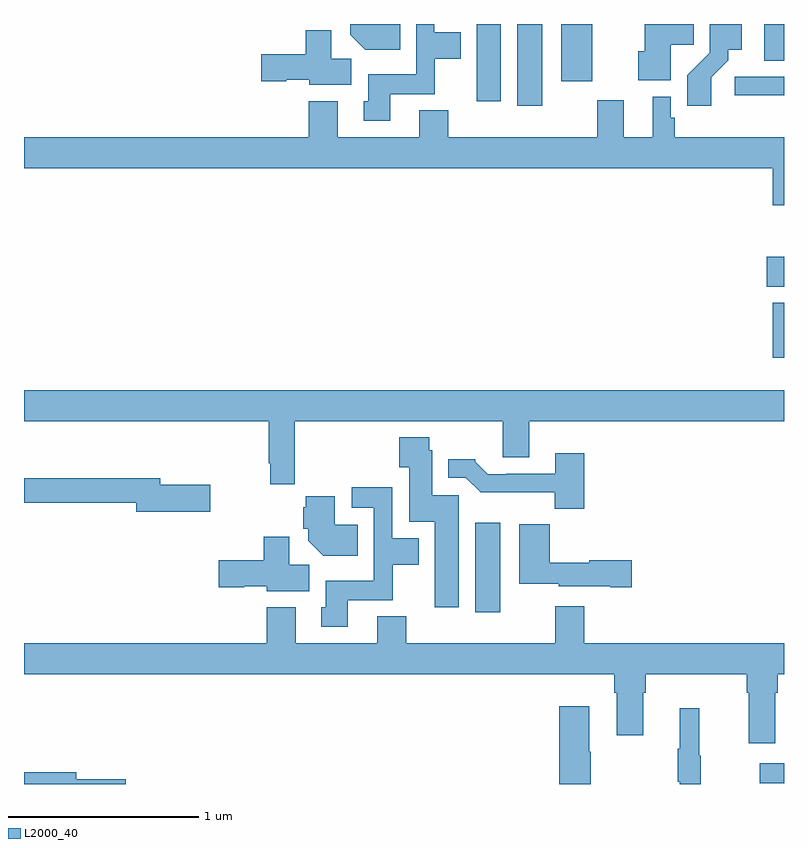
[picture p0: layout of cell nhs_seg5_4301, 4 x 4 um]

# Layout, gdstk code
import gdstk
lib = gdstk.Library(unit=1e-6, precision=1e-09)
def R(c, l, rs):  # rectangles x0, y0, x1, y1
    for r in rs: c.add(gdstk.rectangle(r[:2], r[2:], *l))
def P(c, l, *ps):  # polygons
    for p in ps: c.add(gdstk.Polygon(p, *l))
L2000_40 = (2000, 40)

nhs_seg5_4301 = lib.new_cell('nhs_seg5_4301')
R(nhs_seg5_4301, L2000_40, [(366.873,906.803,367,906.907), (365.375,907.704,365.506,908.173), (366.941,909.042,367,909.331), (366.909,909.416,367,909.574), (365.597,910.368,365.728,910.799), (365.384,910.392,365.509,910.799), (366.896,910.606,367,910.799)])
P(nhs_seg5_4301, L2000_40, [(366.616,910.519),(366.706,910.609),(366.706,910.664),(366.778,910.664),(366.778,910.799),(366.609,910.799),(366.609,910.649),(366.49,910.53),(366.49,910.368),(366.616,910.368)],
  [(366.403,910.69),(366.524,910.69),(366.524,910.799),(366.266,910.799),(366.266,910.655),(366.233,910.655),(366.233,910.502),(366.403,910.502)],
  [(365.992,910.724),(365.99,910.724),(365.99,910.799),(365.828,910.799),(365.828,910.497),(365.992,910.497)],
  [(364.979,910.799),(364.718,910.799),(364.718,910.742),(364.796,910.664),(364.979,910.664)],
  [(364.927,910.43),(365.163,910.43),(365.163,910.616),(365.299,910.616),(365.299,910.756),(365.16,910.756),(365.16,910.799),(365.064,910.799),(365.064,910.534),(364.811,910.534),(364.811,910.392),(364.787,910.392),(364.787,910.29),(364.927,910.29)],
  [(364.723,910.616),(364.618,910.616),(364.618,910.765),(364.484,910.765),(364.484,910.64),(364.248,910.64),(364.248,910.498),(364.38,910.498),(364.38,910.505),(364.5,910.505),(364.5,910.478),(364.723,910.478)],
  [(366.965,910.425),(367,910.425),(367,910.521),(366.741,910.521),(366.741,910.423),(366.965,910.423)],
  [(366.941,909.846),(367,909.846),(367,910.204),(366.425,910.204),(366.425,910.305),(366.405,910.305),(366.405,910.417),(366.308,910.417),(366.308,910.204),(366.157,910.204),(366.157,910.399),(366.017,910.399),(366.017,910.204),(365.234,910.204),(365.234,910.345),(365.081,910.345),(365.081,910.204),(364.651,910.204),(364.651,910.393),(364.499,910.393),(364.499,910.204),(363,910.204),(363,910.04),(366.941,910.04)],
  [(363,908.708),(364.288,908.708),(364.288,908.488),(364.296,908.488),(364.296,908.376),(364.424,908.376),(364.424,908.708),(365.519,908.708),(365.519,908.518),(365.659,908.518),(365.659,908.708),(367,908.708),(367,908.872),(363,908.872)],
  [(365.287,908.319),(365.149,908.319),(365.149,908.556),(365.133,908.556),(365.133,908.623),(364.976,908.623),(364.976,908.467),(365.027,908.467),(365.027,908.18),(365.162,908.18),(365.162,907.728),(365.287,907.728)],
  [(365.948,908.539),(365.795,908.539),(365.795,908.433),(365.539,908.433),(365.539,908.43),(365.44,908.43),(365.376,908.494),(365.376,908.509),(365.234,908.509),(365.234,908.412),(365.325,908.412),(365.404,908.334),(365.793,908.334),(365.793,908.249),(365.948,908.249)],
  [(363.979,908.373),(363.718,908.373),(363.718,908.407),(363,908.407),(363,908.278),(363.59,908.278),(363.59,908.231),(363.979,908.231)],
  [(364.705,907.766),(364.941,907.766),(364.941,907.952),(365.077,907.952),(365.077,908.092),(364.938,908.092),(364.938,908.362),(364.725,908.362),(364.725,908.253),(364.842,908.253),(364.842,907.87),(364.589,907.87),(364.589,907.728),(364.565,907.728),(364.565,907.626),(364.705,907.626)],
  [(364.757,908.164),(364.636,908.164),(364.636,908.314),(364.484,908.314),(364.484,908.256),(364.471,908.256),(364.471,908.142),(364.496,908.142),(364.496,908.078),(364.574,908),(364.757,908)],
  [(366.199,907.976),(365.976,907.976),(365.976,907.963),(365.768,907.963),(365.768,908.167),(365.606,908.167),(365.606,907.853),(365.814,907.853),(365.814,907.841),(366.086,907.841),(366.086,907.834),(366.199,907.834)],
  [(364.501,907.952),(364.396,907.952),(364.396,908.101),(364.262,908.101),(364.262,907.976),(364.026,907.976),(364.026,907.834),(364.158,907.834),(364.158,907.841),(364.278,907.841),(364.278,907.814),(364.501,907.814)],
  [(365.948,907.735),(365.795,907.735),(365.795,907.54),(365.012,907.54),(365.012,907.681),(364.859,907.681),(364.859,907.54),(364.429,907.54),(364.429,907.729),(364.277,907.729),(364.277,907.54),(363,907.54),(363,907.376),(366.107,907.376),(366.107,907.28),(366.119,907.28),(366.119,907.056),(366.259,907.056),(366.259,907.28),(366.272,907.28),(366.272,907.376),(366.803,907.376),(366.803,907.28),(366.815,907.28),(366.815,907.014),(366.955,907.014),(366.955,907.28),(366.968,907.28),(366.968,907.376),(367,907.376),(367,907.54),(365.948,907.54)],
  [(365.982,906.968),(365.974,906.968),(365.974,907.207),(365.816,907.207),(365.816,906.799),(365.982,906.799)],
  [(366.562,906.948),(366.554,906.948),(366.554,907.198),(366.452,907.198),(366.452,906.985),(366.441,906.985),(366.441,906.811),(366.452,906.811),(366.452,906.799),(366.562,906.799)],
  [(363.535,906.824),(363.274,906.824),(363.274,906.86),(363,906.86),(363,906.799),(363.535,906.799)])

lib.write_gds('nhs_seg5_4301.gds')
